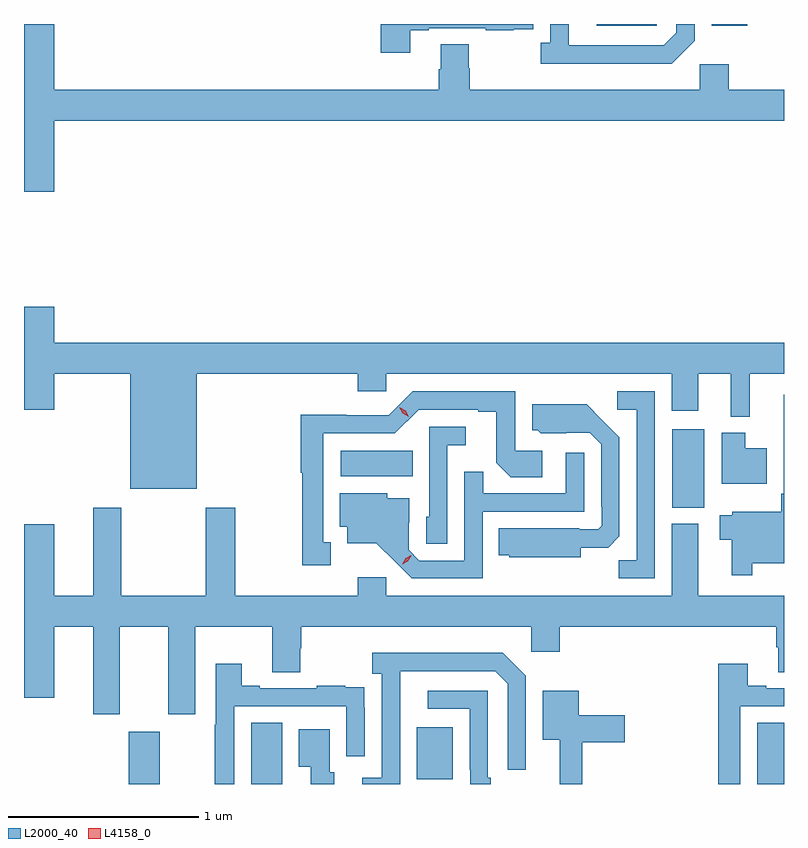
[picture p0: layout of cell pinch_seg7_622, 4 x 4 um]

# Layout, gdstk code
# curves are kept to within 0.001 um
import gdstk
lib = gdstk.Library(unit=1e-6, precision=1e-09)
def R(c, l, rs):  # rectangles x0, y0, x1, y1
    for r in rs: c.add(gdstk.rectangle(r[:2], r[2:], *l))
def P(c, l, *ps):  # polygons
    for p in ps: c.add(gdstk.Polygon(p, *l))
L2000_40 = (2000, 40)
L4158_0 = (4158, 0)

pinch_seg7_622 = lib.new_cell('pinch_seg7_622')
R(pinch_seg7_622, L2000_40, [(112.505,1022.433,112.669,1022.707), (113.15,1022.433,113.314,1022.756), (115.814,1022.433,115.955,1022.756), (114.023,1022.457,114.211,1022.731), (115.367,1023.887,115.534,1024.3), (113.622,1024.052,114.002,1024.186), (114.969,1026.423,115.284,1026.433), (115.574,1026.425,115.762,1026.433)])
P(pinch_seg7_622, L2000_40, [(115.485,1026.345),(115.485,1026.433),(115.389,1026.433),(115.389,1026.387),(115.323,1026.321),(114.823,1026.321),(114.823,1026.433),(114.726,1026.433),(114.726,1026.334),(114.675,1026.334),(114.675,1026.224),(115.364,1026.224)],
  [(112.114,1025.924),(115.955,1025.924),(115.955,1026.088),(115.664,1026.088),(115.664,1026.22),(115.512,1026.22),(115.512,1026.088),(114.302,1026.088),(114.302,1026.201),(114.297,1026.201),(114.297,1026.326),(114.149,1026.326),(114.149,1026.194),(114.137,1026.194),(114.137,1026.088),(112.114,1026.088),(112.114,1026.433),(111.955,1026.433),(111.955,1025.55),(112.114,1025.55)],
  [(113.989,1026.399),(114.085,1026.399),(114.085,1026.411),(114.385,1026.411),(114.385,1026.399),(114.533,1026.399),(114.533,1026.405),(114.635,1026.405),(114.635,1026.433),(113.833,1026.433),(113.833,1026.282),(113.989,1026.282)],
  [(112.864,1024.592),(113.711,1024.592),(113.711,1024.499),(113.862,1024.499),(113.862,1024.592),(115.364,1024.592),(115.364,1024.398),(115.504,1024.398),(115.504,1024.592),(115.676,1024.592),(115.676,1024.367),(115.775,1024.367),(115.775,1024.592),(115.955,1024.592),(115.955,1024.756),(112.114,1024.756),(112.114,1024.945),(111.955,1024.945),(111.955,1024.404),(112.114,1024.404),(112.114,1024.592),(112.514,1024.592),(112.514,1023.986),(112.864,1023.986)],
  [(115.275,1024.5),(115.077,1024.5),(115.077,1024.404),(115.179,1024.404),(115.179,1023.611),(115.084,1023.611),(115.084,1023.516),(115.275,1023.516)],
  [(113.569,1023.705),(113.53,1023.705),(113.53,1024.278),(113.907,1024.278),(114.033,1024.404),(114.347,1024.404),(114.347,1024.392),(114.441,1024.392),(114.441,1024.124),(114.517,1024.048),(114.682,1024.048),(114.682,1024.188),(114.54,1024.188),(114.54,1024.5),(114,1024.5),(113.874,1024.374),(113.652,1024.374),(113.652,1024.376),(113.412,1024.376),(113.412,1024.071),(113.419,1024.071),(113.419,1023.585),(113.569,1023.585)],
  [(115.789,1023.596),(115.955,1023.596),(115.955,1024.483),(115.953,1024.483),(115.953,1023.961),(115.941,1023.961),(115.941,1023.865),(115.683,1023.865),(115.683,1023.847),(115.616,1023.847),(115.616,1023.718),(115.679,1023.718),(115.679,1023.531),(115.789,1023.531)],
  [(114.886,1023.677),(115.03,1023.677),(115.089,1023.736),(115.089,1024.258),(114.917,1024.432),(114.629,1024.432),(114.629,1024.296),(114.66,1024.296),(114.676,1024.28),(114.933,1024.281),(114.993,1024.221),(114.993,1023.892),(114.996,1023.892),(114.996,1023.792),(114.978,1023.774),(114.878,1023.774),(114.878,1023.778),(114.454,1023.778),(114.454,1023.638),(114.51,1023.638),(114.51,1023.626),(114.886,1023.626)],
  [(114.183,1024.217),(114.28,1024.217),(114.28,1024.314),(114.087,1024.314),(114.087,1023.84),(114.072,1023.84),(114.072,1023.697),(114.183,1023.697)],
  [(115.864,1024.201),(115.75,1024.201),(115.75,1024.282),(115.628,1024.282),(115.628,1024.013),(115.864,1024.013)],
  [(114.369,1023.867),(114.903,1023.867),(114.903,1024.177),(114.807,1024.177),(114.807,1023.963),(114.371,1023.963),(114.371,1024.076),(114.273,1024.076),(114.273,1023.609),(114.036,1023.609),(113.979,1023.666),(113.979,1023.808),(113.983,1023.808),(113.983,1023.937),(113.868,1023.937),(113.868,1023.964),(113.618,1023.964),(113.618,1023.788),(113.657,1023.788),(113.657,1023.701),(113.809,1023.701),(113.996,1023.516),(114.369,1023.516)],
  [(112.459,1023.26),(112.715,1023.26),(112.715,1022.799),(112.855,1022.799),(112.855,1023.26),(113.261,1023.26),(113.261,1023.022),(113.409,1023.022),(113.409,1023.147),(113.414,1023.147),(113.414,1023.26),(114.624,1023.26),(114.624,1023.129),(114.776,1023.129),(114.776,1023.26),(115.913,1023.26),(115.913,1023.154),(115.925,1023.154),(115.925,1023.022),(115.955,1023.022),(115.955,1023.424),(115.504,1023.424),(115.504,1023.802),(115.364,1023.802),(115.364,1023.424),(113.862,1023.424),(113.862,1023.52),(113.711,1023.52),(113.711,1023.424),(113.067,1023.424),(113.067,1023.886),(112.912,1023.886),(112.912,1023.424),(112.467,1023.424),(112.467,1023.886),(112.319,1023.886),(112.319,1023.424),(112.114,1023.424),(112.114,1023.799),(111.955,1023.799),(111.955,1022.886),(112.114,1022.886),(112.114,1023.26),(112.319,1023.26),(112.319,1022.799),(112.459,1022.799)],
  [(113.934,1022.827),(113.935,1023.027),(114.435,1023.027),(114.501,1022.961),(114.501,1022.508),(114.597,1022.508),(114.597,1023.003),(114.476,1023.124),(113.787,1023.124),(113.787,1023.014),(113.838,1023.014),(113.838,1022.466),(113.736,1022.466),(113.736,1022.433),(113.934,1022.433)],
  [(113.061,1022.841),(113.652,1022.841),(113.652,1022.58),(113.748,1022.58),(113.748,1022.834),(113.747,1022.834),(113.747,1022.943),(113.645,1022.943),(113.645,1022.95),(113.497,1022.95),(113.497,1022.937),(113.197,1022.937),(113.197,1022.95),(113.101,1022.95),(113.101,1023.067),(112.965,1023.067),(112.965,1022.744),(112.96,1022.744),(112.96,1022.433),(113.061,1022.433)],
  [(115.725,1022.841),(115.955,1022.841),(115.955,1022.937),(115.861,1022.937),(115.861,1022.95),(115.765,1022.95),(115.765,1023.067),(115.609,1023.067),(115.609,1022.433),(115.725,1022.433)],
  [(114.411,1022.467),(114.396,1022.467),(114.396,1022.925),(114.081,1022.925),(114.081,1022.829),(114.3,1022.829),(114.3,1022.509),(114.303,1022.509),(114.303,1022.433),(114.411,1022.433)],
  [(114.893,1022.654),(115.117,1022.654),(115.117,1022.796),(114.874,1022.796),(114.874,1022.923),(114.686,1022.923),(114.686,1022.666),(114.776,1022.666),(114.776,1022.433),(114.893,1022.433)],
  [(113.587,1022.496),(113.563,1022.496),(113.563,1022.722),(113.402,1022.722),(113.402,1022.525),(113.465,1022.525),(113.465,1022.433),(113.587,1022.433)])
P(pinch_seg7_622, L4158_0, [(113.945,1023.59),(113.945,1023.59),(113.963,1023.62),(113.994,1023.636),(113.994,1023.636),(113.994,1023.635),(113.976,1023.606),(113.945,1023.59)],
  [(113.98,1024.365),(113.949,1024.384),(113.931,1024.416),(113.931,1024.417),(113.931,1024.417),(113.963,1024.398),(113.981,1024.365),(113.981,1024.365)])

lib.write_gds('pinch_seg7_622.gds')
